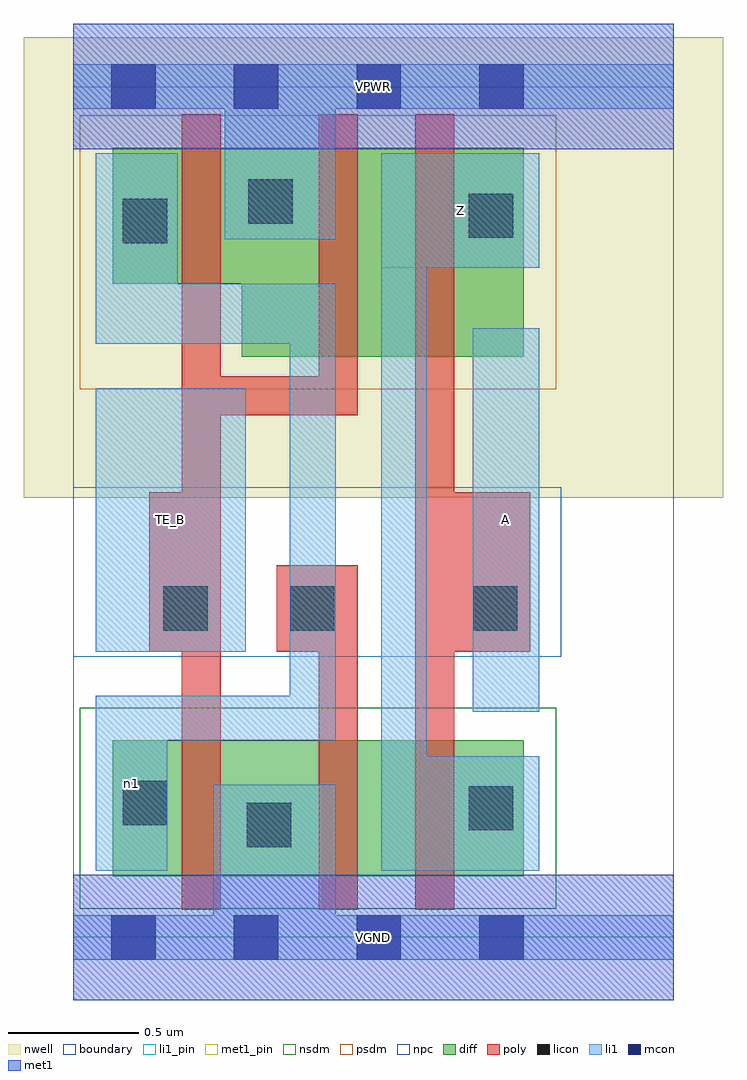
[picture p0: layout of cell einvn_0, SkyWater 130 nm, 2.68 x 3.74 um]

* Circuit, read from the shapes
.subckt einvn_0 A TE_B VGND VPWR Z n1
XM1 VGND TE_B n1 VSUBS sky130_fd_pr__nfet_01v8 w=0.52 l=0.15
XM2 n2 n1 VGND VSUBS sky130_fd_pr__nfet_01v8 w=0.52 l=0.15
XM3 Z A n2 VSUBS sky130_fd_pr__nfet_01v8 w=0.52 l=0.15
XM4 VPWR TE_B n1 n3 sky130_fd_pr__pfet_01v8 w=0.52 l=0.15
XM5 n4 TE_B VPWR n3 sky130_fd_pr__pfet_01v8 w=0.8 l=0.15
XM6 Z A n4 n3 sky130_fd_pr__pfet_01v8 w=0.8 l=0.15
.ends

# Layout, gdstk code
import gdstk
lib = gdstk.Library(unit=1e-6, precision=1e-09)
def R(c, l, rs):  # rectangles x0, y0, x1, y1
    for r in rs: c.add(gdstk.rectangle(r[:2], r[2:], *l))
def A(c, l, x, y, w, h, nx, ny, dx, dy):  # array of equal rectangles
    R(c, l, [(x+i*dx, y+j*dy, x+i*dx+w, y+j*dy+h) for i in range(nx) for j in range(ny)])
nwell = (64, 20)
diff = (65, 20)
poly = (66, 20)
licon = (66, 44)
li1_pin = (67, 16)
li1 = (67, 20)
mcon = (67, 44)
met1_pin = (68, 16)
met1 = (68, 20)
nsdm = (93, 44)
psdm = (94, 20)
npc = (95, 20)
boundary = (235, 4)

einvn_0 = lib.new_cell('einvn_0')
R(einvn_0, nwell, [(-0.19,1.685,2.49,3.45), (0,1.685,2.3,3.45)])
R(einvn_0, diff, [(0.15,0.235,1.725,0.755), (0.645,2.225,1.725,3.025), (0.15,2.505,1.725,3.025)])
R(einvn_0, poly, [(0.415,0.105,0.565,3.155), (0.94,0.105,1.09,1.425), (1.31,0.105,1.46,3.155), (0.29,1.095,0.565,1.705), (0.78,1.095,1.09,1.425), (1.31,1.095,1.75,1.705), (0.415,2,1.09,2.15), (0.94,2,1.09,3.155)])
R(einvn_0, licon, [(0.665,0.345,0.835,0.515), (1.515,0.41,1.685,0.58), (0.19,0.43,0.36,0.6), (0.345,1.175,0.515,1.345), (0.83,1.175,1,1.345), (1.53,1.175,1.7,1.345), (0.19,2.66,0.36,2.83), (1.515,2.68,1.685,2.85), (0.67,2.735,0.84,2.905)])
R(einvn_0, li1_pin, [(1.53,0.865,1.785,2.335), (0.085,1.095,0.66,2.105), (1.18,2.565,1.785,3.005)])
R(einvn_0, li1, [(0,-0.085,2.3,0.085), (0.535,-0.085,1.005,0.585), (0.085,0.255,0.36,0.925), (1.18,0.255,1.355,3.005), (1.18,0.255,1.785,0.695), (0.085,0.755,1.005,0.925), (0.83,0.755,1.005,2.505), (1.53,0.865,1.785,2.335), (0.085,1.095,0.66,2.105), (0.085,2.275,0.4,3.005), (0.085,2.275,1.005,2.505), (1.18,2.565,1.785,3.005), (0.58,2.675,1.005,3.345), (0,3.175,2.3,3.345)])
A(einvn_0, mcon, 0.145, -0.085, 0.17, 0.17, 4, 2, 0.47, 3.26)
R(einvn_0, met1_pin, [(0,-0.24,2.3,0.24), (0,3.02,2.3,3.5)])
R(einvn_0, met1, [(0,-0.24,2.3,0.24), (0,3.02,2.3,3.5)])
R(einvn_0, nsdm, [(0.025,0.11,1.85,0.88)])
R(einvn_0, psdm, [(0.025,2.1,1.85,3.15)])
R(einvn_0, npc, [(0,1.075,1.87,1.725)])
R(einvn_0, boundary, [(0,0,2.3,3.26)])
einvn_0.add(gdstk.Label('A', (1.657,1.6), layer=67, texttype=5))
einvn_0.add(gdstk.Label('TE_B', (0.372,1.6), layer=67, texttype=5))
einvn_0.add(gdstk.Label('Z', (1.482,2.785), layer=67, texttype=5))
einvn_0.add(gdstk.Label('n1', (0.222,0.59), layer=67, texttype=5))
einvn_0.add(gdstk.Label('VPWR', (1.15,3.26), layer=68, texttype=5))
einvn_0.add(gdstk.Label('VGND', (1.15,0), layer=68, texttype=5))
einvn_0.add(gdstk.Label('A', (1.657,1.6), layer=67, texttype=16))
einvn_0.add(gdstk.Label('TE_B', (0.372,1.6), layer=67, texttype=16))
einvn_0.add(gdstk.Label('Z', (1.482,2.785), layer=67, texttype=16))
einvn_0.add(gdstk.Label('VPWR', (1.15,3.26), layer=68, texttype=16))
einvn_0.add(gdstk.Label('VGND', (1.15,0), layer=68, texttype=16))

lib.write_gds('einvn_0.gds')
